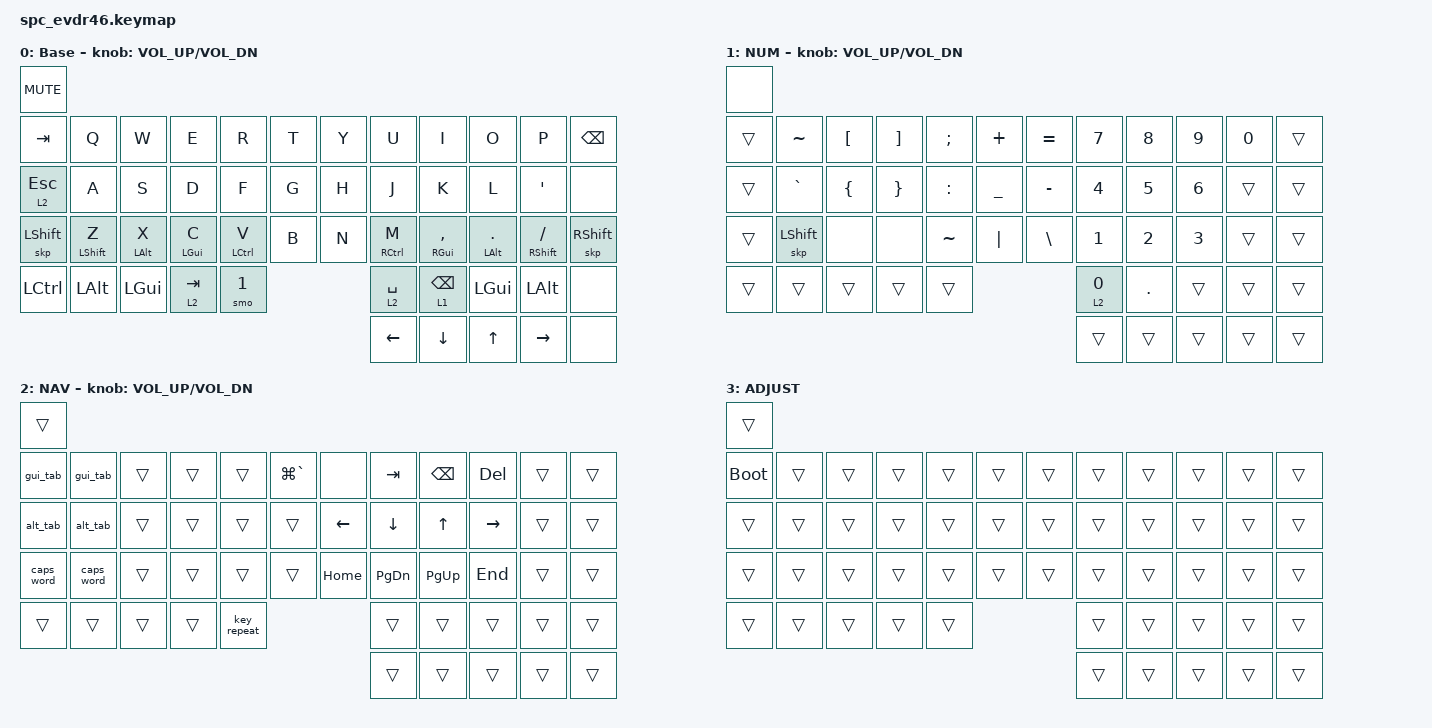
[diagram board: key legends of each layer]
/*
 * Copyright (c) 2023 sporkus
 *
 * SPDX-License-Identifier: MIT
 */

#include <behaviors.dtsi>
#include <dt-bindings/zmk/keys.h>
#include <dt-bindings/zmk/bt.h>
#define COMBO_FAST 25

&lt {
    quick_tap_ms = <200>;
    flavor = "balanced";
};

/ {
    behaviors {
        hm: homerow_mods {
            compatible = "zmk,behavior-hold-tap";
            label = "homerow mods";
            #binding-cells = <2>;
            global-quick-tap-ms = <80>;
            quick-tap-ms = <250>;
            flavor = "balanced";
            bindings =
                <&kp>,
                <&kp>;

            tapping-term-ms = <200>;
            hold-trigger-on-release;
        };
        sft_t: sft_t {
            compatible = "zmk,behavior-hold-tap";
            label = "SFT_T";
            bindings =
                <&skp>,
                <&kp>;

            #binding-cells = <2>;
            tapping-term-ms = <200>;
            quick-tap-ms = <200>;
            hold-trigger-on-release;
            flavor = "hold-preferred";
        };
        skp: skp {
            compatible = "zmk,behavior-sticky-key";
            label = "SKP";
            bindings = <&kp>;
            #binding-cells = <1>;
            quick-release;
            release-after-ms = <300>;
            ignore-modifiers;
        };
        smo: smo {
            compatible = "zmk,behavior-sticky-key";
            label = "Sticky layer";
            bindings = <&mo>;
            #binding-cells = <1>;
            quick-release;
            release-after-ms = <300>;
            ignore-modifiers;
        };
        lp: lp {
            compatible = "zmk,behavior-hold-tap";
            label = "(hold, tap)";
            bindings =
                <&kp>,
                <&kp>;

            #binding-cells = <2>;
            tapping-term-ms = <180>;
            quick-tap-ms = <250>;
            flavor = "tap-preferred";
        };

        // Alt+Tab swapper, requires PR #1366

        alt_tab: alt_tab {
            compatible = "zmk,behavior-tri-state";
            label = "ALT_TAB";
            bindings =
                <&kt LALT>,
                <&kp TAB>,
                <&kt LALT>;

            #binding-cells = <0>;
        };

        // Gui+Tab swapper, requires PR #1366

        gui_tab: gui_tab {
            compatible = "zmk,behavior-tri-state";
            label = "GUI_TAB";
            bindings =
                <&kt LGUI>,
                <&kp TAB>,
                <&kt LGUI>;

            #binding-cells = <0>;
        };
        nav_spc: nav_spc {
            compatible = "zmk,behavior-hold-tap";
            label = "NAV_SPC";
            bindings =
                <&mo>,
                <&kp>;

            global-quick-tap-ms = <50>;
            #binding-cells = <2>;
            quick-tap-ms = <220>;
            tapping-term-ms = <150>;
            hold-trigger-key-positions = <19 20 21 22 8 9 13 1>;
        };
        brc_morph: brc_morph {
            compatible = "zmk,behavior-mod-morph";
            label = "BRC_MORPH";
            bindings =
                <&kp RBRC>,
                <&kp LBRC>;

            #binding-cells = <0>;
            mods = <(MOD_RSFT|MOD_LSFT)>;
        };
        par_morph: par_morph {
            compatible = "zmk,behavior-mod-morph";
            label = "par_morph";
            bindings =
                <&kp RPAR>,
                <&kp LPAR>;

            #binding-cells = <0>;
            mods = <(MOD_RSFT|MOD_LSFT)>;
        };
    };

    combos {
        compatible = "zmk,combos";

        combo_enter {
            bindings = <&kp ENTER>;
            key-positions = <20 21>;
            global-quick-tap-ms = <80>;
            timeout-ms = <COMBO_FAST>;
        };

        combo_bspc {
            bindings = <&kp BSPC>;
            key-positions = <9 10>;
            global-quick-tap-ms = <80>;
        };

        combo_esc {
            bindings = <&kp ESC>;
            key-positions = <15 16>;
            global-quick-tap-ms = <80>;
        };

        combo_tab {
            bindings = <&kp TAB>;
            key-positions = <16 17>;
            global-quick-tap-ms = <80>;
        };

        combo_copypaste {
            bindings = <&lp LS(INS) LC(INS)>;
            key-positions = <28 29>;
        };

        combo_copypaste_mac {
            bindings = <&lp LG(V) LG(C)>;
            key-positions = <28 29>;
            layers = <1>;
        };

        combo_lpar {
            bindings = <&kp LPAR>;
            key-positions = <5 17>;
        };

        combo_rpar {
            bindings = <&kp RPAR>;
            key-positions = <8 20>;
        };

        combo_lt {
            bindings = <&kp LT>;
            key-positions = <6 18>;
        };

        combo_gt {
            bindings = <&kp GT>;
            key-positions = <7 19>;
        };

        combo_adj {
            bindings = <&mo 3>;
            key-positions = <40 43>;
        };
    };

    macros {
        bt0_mac: bt0_mac {
            compatible = "zmk,behavior-macro";
            label = "BT0_MAC";
            #binding-cells = <0>;
            bindings = <&bt BT_SEL 0 &tog 0>;
        };
        bt1_win: bt1_win {
            compatible = "zmk,behavior-macro";
            label = "BT1_WIN";
            #binding-cells = <0>;
            bindings = <&bt BT_SEL 1 &to 0>;
        };
    };

    keymap {
        compatible = "zmk,keymap";

        // 0
        BASE {
            label = " Base";
            bindings = <
&kp C_MUTE
   &kp TAB           &kp Q       &kp W       &kp E        &kp R   &kp T        &kp Y        &kp U           &kp I         &kp O               &kp P    &kp BSPC
 &lt 2 ESC           &kp A       &kp S       &kp D        &kp F   &kp G        &kp H        &kp J           &kp K         &kp L    &kp SINGLE_QUOTE       &none
&skp LSHFT  &sft_t LSHFT Z  &hm LALT X  &hm LGUI C  &hm LCTRL V   &kp B        &kp N  &hm RCTRL M  &hm RGUI COMMA  &hm LALT DOT  &sft_t RSHFT SLASH  &skp RSHFT
 &kp LCTRL        &kp LALT    &kp LGUI                &lt 2 TAB  &smo 1  &nav_spc 2 SPACE   &lt 1 BSPC                      &kp LGUI            &kp LALT       &none
                                                                                         &kp LEFT        &kp DOWN        &kp UP           &kp RIGHT       &none
            >;

            sensor-bindings = <&inc_dec_kp C_VOL_UP C_VOL_DN>;
        };

        // 1
        NUM {
            bindings = <
 &none
&trans   &kp TILDE  &kp LBKT  &kp RBKT   &kp SEMI   &kp PLUS  &kp EQUAL   &kp N7  &kp N8  &kp N9  &kp N0  &trans
&trans   &kp GRAVE  &kp LBRC  &kp RBRC  &kp COLON  &kp UNDER  &kp MINUS   &kp N4  &kp N5  &kp N6  &trans  &trans
&trans  &skp LSHFT     &none     &none  &kp TILDE   &kp PIPE   &kp BSLH   &kp N1  &kp N2  &kp N3  &trans  &trans
&trans      &trans    &trans               &trans     &trans   &lt 2 N0  &kp DOT          &trans  &trans  &trans
                                                                          &trans  &trans  &trans  &trans  &trans
            >;

            sensor-bindings = <&inc_dec_kp C_VOL_UP C_VOL_DN>;
        };

        // 2
        NAV {
            bindings = <
&trans
   &gui_tab    &gui_tab  &trans  &trans  &trans  &kp LG(GRAVE)     &none    &kp TAB   &kp BSPC    &kp DEL  &trans  &trans
   &alt_tab    &alt_tab  &trans  &trans  &trans         &trans  &kp LEFT   &kp DOWN     &kp UP  &kp RIGHT  &trans  &trans
 &caps_word  &caps_word  &trans  &trans  &trans         &trans  &kp HOME  &kp PG_DN  &kp PG_UP    &kp END  &trans  &trans
     &trans      &trans  &trans          &trans    &key_repeat    &trans     &trans                &trans  &trans  &trans
                                                                             &trans     &trans     &trans  &trans  &trans
            >;

            sensor-bindings = <&inc_dec_kp C_VOL_UP C_VOL_DN>;
        };

        // 3
        ADJUST {
            bindings = <
&trans
&bootloader  &trans  &trans  &trans  &trans  &trans  &trans  &trans  &trans  &trans  &trans  &trans
&trans  &trans  &trans  &trans  &trans  &trans  &trans  &trans  &trans  &trans  &trans  &trans
&trans  &trans  &trans  &trans  &trans  &trans  &trans  &trans  &trans  &trans  &trans  &trans
&trans  &trans  &trans          &trans  &trans  &trans  &trans          &trans  &trans  &trans
                                                        &trans  &trans  &trans  &trans  &trans
            >;
        };
    };
};
